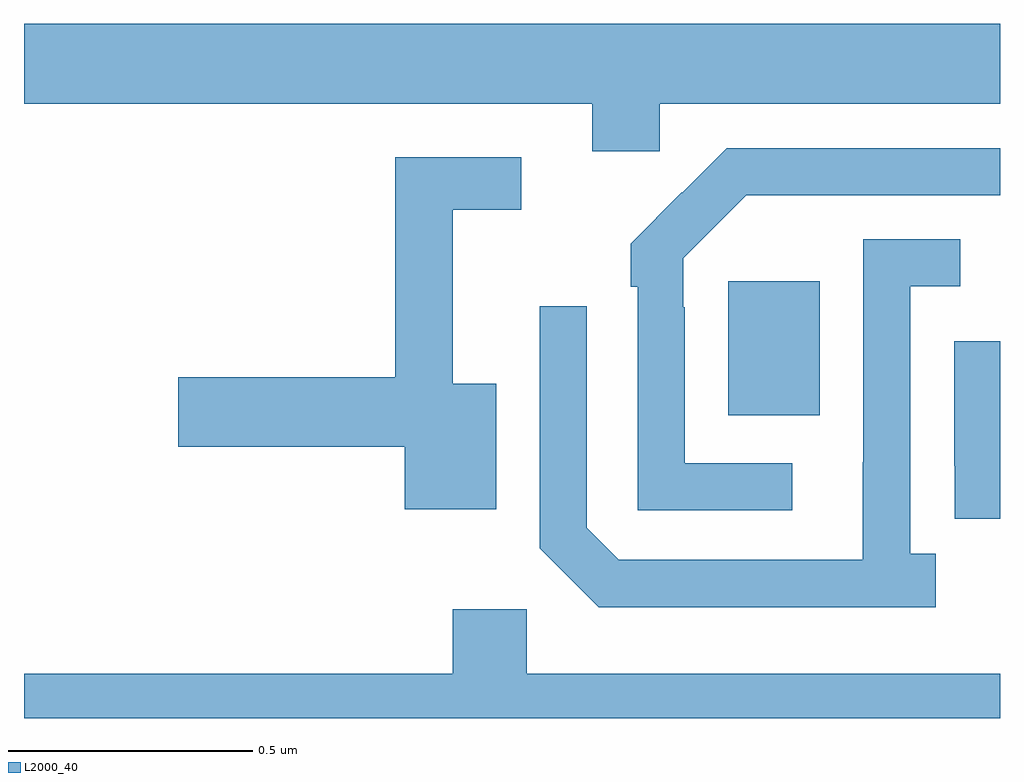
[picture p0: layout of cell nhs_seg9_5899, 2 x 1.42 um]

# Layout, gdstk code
import gdstk
lib = gdstk.Library(unit=1e-6, precision=1e-09)
def R(c, l, rs):  # rectangles x0, y0, x1, y1
    for r in rs: c.add(gdstk.rectangle(r[:2], r[2:], *l))
def P(c, l, *ps):  # polygons
    for p in ps: c.add(gdstk.Polygon(p, *l))
L2000_40 = (2000, 40)

nhs_seg9_5899 = lib.new_cell('nhs_seg9_5899')
R(nhs_seg9_5899, L2000_40, [(186.443,1189.121,186.631,1189.396)])
P(nhs_seg9_5899, L2000_40, [(186.303,1189.76),(187,1189.76),(187,1189.924),(185,1189.924),(185,1189.76),(186.164,1189.76),(186.164,1189.662),(186.303,1189.662)],
  [(186.574,1189.023),(186.354,1189.023),(186.354,1189.343),(186.351,1189.343),(186.351,1189.443),(186.48,1189.572),(187,1189.572),(187,1189.668),(186.44,1189.668),(186.349,1189.577),(186.348,1189.578),(186.243,1189.473),(186.243,1189.385),(186.258,1189.385),(186.258,1188.927),(186.574,1188.927)],
  [(185.968,1189.186),(185.879,1189.186),(185.879,1189.542),(186.019,1189.542),(186.019,1189.65),(185.761,1189.65),(185.761,1189.199),(185.316,1189.199),(185.316,1189.057),(185.78,1189.057),(185.78,1188.929),(185.968,1188.929)],
  [(186.868,1188.838),(186.816,1188.838),(186.816,1189.386),(186.919,1189.386),(186.919,1189.482),(186.72,1189.482),(186.72,1189.025),(186.719,1189.025),(186.719,1188.825),(186.219,1188.825),(186.153,1188.891),(186.153,1189.345),(186.057,1189.345),(186.057,1188.849),(186.178,1188.728),(186.868,1188.728)],
  [(187,1189.273),(186.906,1189.273),(186.906,1189.018),(186.907,1189.018),(186.907,1188.909),(187,1188.909)],
  [(187,1188.592),(186.03,1188.592),(186.03,1188.724),(185.879,1188.724),(185.879,1188.592),(185,1188.592),(185,1188.5),(187,1188.5)])

lib.write_gds('nhs_seg9_5899.gds')
